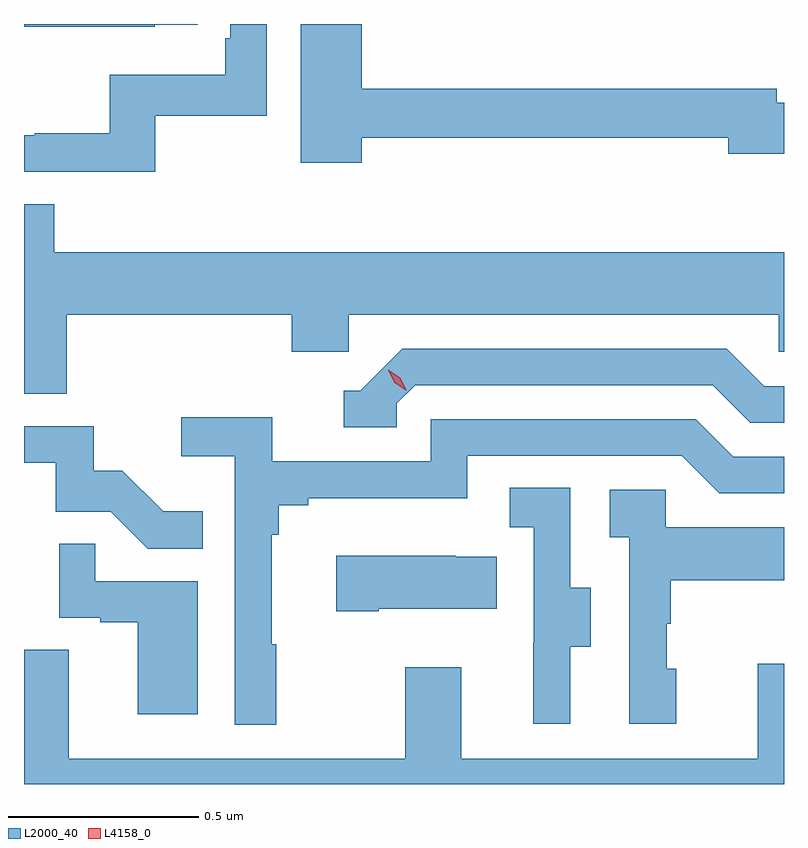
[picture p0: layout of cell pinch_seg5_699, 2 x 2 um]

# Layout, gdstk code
import gdstk
lib = gdstk.Library(unit=1e-6, precision=1e-09)
def P(c, l, *ps):  # polygons
    for p in ps: c.add(gdstk.Polygon(p, *l))
L2000_40 = (2000, 40)
L4158_0 = (4158, 0)

pinch_seg5_699 = lib.new_cell('pinch_seg5_699')
P(pinch_seg5_699, L2000_40, [(1090.342,845.238),(1091.306,845.238),(1091.306,845.195),(1091.453,845.195),(1091.453,845.33),(1091.434,845.33),(1091.434,845.366),(1090.342,845.366),(1090.342,845.537),(1090.181,845.537),(1090.181,845.172),(1090.342,845.172)],
  [(1089.797,845.535),(1089.91,845.535),(1089.91,845.537),(1089.453,845.537),(1089.453,845.53),(1089.797,845.53)],
  [(1089.799,845.295),(1090.092,845.295),(1090.092,845.537),(1089.996,845.537),(1089.996,845.5),(1089.983,845.5),(1089.983,845.404),(1089.678,845.404),(1089.678,845.249),(1089.481,845.249),(1089.481,845.244),(1089.453,845.244),(1089.453,845.148),(1089.799,845.148)],
  [(1089.566,844.772),(1090.157,844.772),(1090.157,844.674),(1090.308,844.674),(1090.308,844.772),(1091.439,844.772),(1091.439,844.674),(1091.453,844.674),(1091.453,844.936),(1089.533,844.936),(1089.533,845.063),(1089.453,845.063),(1089.453,844.564),(1089.566,844.564)],
  [(1090.434,844.539),(1090.482,844.587),(1091.265,844.587),(1091.364,844.488),(1091.453,844.488),(1091.453,844.584),(1091.401,844.584),(1091.302,844.683),(1090.449,844.683),(1090.338,844.572),(1090.295,844.572),(1090.295,844.476),(1090.434,844.476)],
  [(1090.117,843.905),(1090.105,843.905),(1090.105,844.193),(1090.124,844.193),(1090.124,844.27),(1090.201,844.27),(1090.201,844.289),(1090.62,844.289),(1090.62,844.401),(1091.184,844.401),(1091.283,844.302),(1091.453,844.302),(1091.453,844.398),(1091.32,844.398),(1091.221,844.497),(1090.524,844.497),(1090.524,844.386),(1090.106,844.386),(1090.106,844.502),(1089.867,844.502),(1089.867,844.4),(1090.008,844.4),(1090.008,843.693),(1090.117,843.693)],
  [(1089.923,844.255),(1089.819,844.255),(1089.712,844.362),(1089.636,844.362),(1089.636,844.479),(1089.453,844.479),(1089.453,844.383),(1089.537,844.383),(1089.537,844.254),(1089.681,844.254),(1089.779,844.156),(1089.923,844.156)],
  [(1090.891,843.898),(1090.945,843.898),(1090.945,844.053),(1090.89,844.053),(1090.89,844.316),(1090.731,844.316),(1090.731,844.213),(1090.794,844.213),(1090.794,843.909),(1090.793,843.909),(1090.793,843.696),(1090.891,843.696)],
  [(1091.17,843.84),(1091.145,843.84),(1091.145,843.959),(1091.155,843.959),(1091.155,844.073),(1091.453,844.073),(1091.453,844.213),(1091.142,844.213),(1091.142,844.311),(1090.995,844.311),(1090.995,844.187),(1091.046,844.187),(1091.046,843.696),(1091.17,843.696)],
  [(1089.91,844.071),(1089.641,844.071),(1089.641,844.169),(1089.546,844.169),(1089.546,843.975),(1089.653,843.975),(1089.653,843.963),(1089.752,843.963),(1089.752,843.72),(1089.91,843.72)],
  [(1090.387,843.998),(1090.697,843.998),(1090.697,844.135),(1090.589,844.135),(1090.589,844.138),(1090.275,844.138),(1090.275,843.991),(1090.387,843.991)],
  [(1090.456,843.844),(1090.456,843.604),(1089.571,843.604),(1089.571,843.89),(1089.453,843.89),(1089.453,843.537),(1091.453,843.537),(1091.453,843.853),(1091.384,843.853),(1091.384,843.604),(1090.603,843.604),(1090.603,843.844)])
P(pinch_seg5_699, L4158_0, [(1090.458,844.573),(1090.428,844.593),(1090.412,844.626),(1090.412,844.627),(1090.412,844.627),(1090.443,844.606),(1090.459,844.574),(1090.459,844.573)])

lib.write_gds('pinch_seg5_699.gds')
